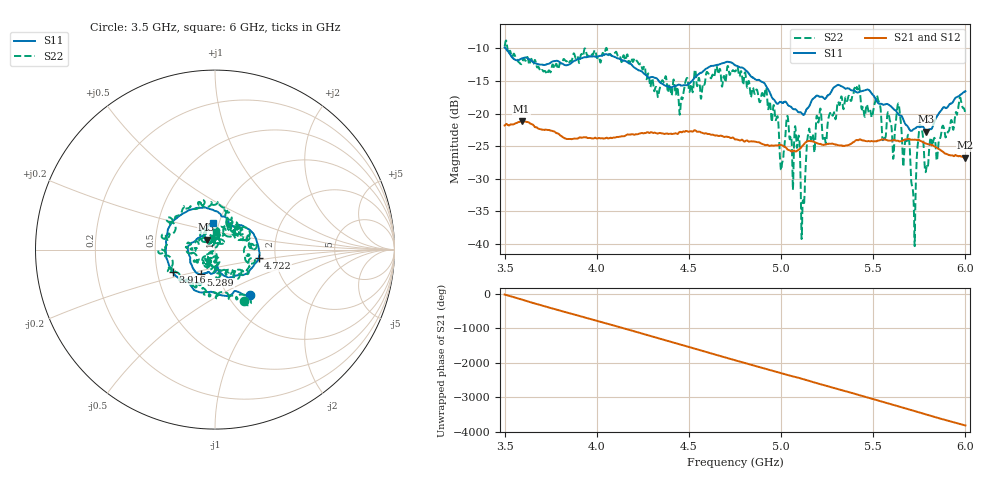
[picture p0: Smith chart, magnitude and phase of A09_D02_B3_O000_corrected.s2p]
! Created with skrf 1.9.0 (http://scikit-rf.org).
# Hz S RI R 50.0
!freq ReS11 ImS11 ReS21 ImS21 ReS12 ImS12 ReS22 ImS22
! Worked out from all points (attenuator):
!   1601 points, 3.5 GHz to 6 GHz, reference 50 ohm
!   highest |S21| = -21.19 dB at 3.592 GHz (marker M1); lowest = -26.8 dB at 6 GHz (marker M2)
!   lowest |S11| = -22.8 dB at 5.787 GHz (marker M3), VSWR 1.16, Z = 45.3 + j5.03 ohm
!   |S11| at or under -10 dB: 3.505 GHz to end of sweep
!   |S22| runs from -40.4 to -8.8 dB; largest |S21 - S12| = 0.001
!   S11 on the Smith chart (normalised r, x): 3.5 GHz: 1.26, -0.72; 3.916 GHz: 0.60, -0.16; 4.722 GHz: 1.63, -0.17; 5.289 GHz: 0.82, -0.23; 6 GHz: 0.94, +0.28
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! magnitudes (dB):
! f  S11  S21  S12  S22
! 3.5 GHz  -9.8  -21.8  -21.8  -9.7
! 3.592 GHz  -11.6  -21.2  -21.2  -12.4
! 3.916 GHz  -11.5  -23.7  -23.7  -10.9
! 3.917 GHz  -11.5  -23.7  -23.7  -10.9
! 4.334 GHz  -14.9  -23.0  -23.0  -17.2
! 4.722 GHz  -12.1  -23.7  -23.7  -14.1
! 4.75 GHz  -12.6  -24.0  -23.9  -13.5
! 4.912 GHz  -15.5  -24.8  -24.8  -16.7
! 5.003 GHz  -18.3  -24.9  -24.9  -28.3
! 5.031 GHz  -18.4  -25.4  -25.3  -20.6
! 5.086 GHz  -19.5  -25.8  -25.7  -25.3
! 5.119 GHz  -20.2  -24.9  -24.8  -33.3
! 5.145 GHz  -19.1  -24.2  -24.2  -23.4
! 5.167 GHz  -17.9  -24.3  -24.2  -23.6
! 5.289 GHz  -15.9  -24.7  -24.7  -20.0
! 5.412 GHz  -16.8  -24.1  -24.1  -16.3
! 5.584 GHz  -18.7  -24.1  -24.1  -20.0
! 5.688 GHz  -22.0  -23.9  -23.9  -23.4
! 5.719 GHz  -22.4  -24.0  -24.0  -33.4
! 5.753 GHz  -22.1  -24.2  -24.1  -21.9
! 5.787 GHz  -22.8  -24.6  -24.6  -28.5
! 6 GHz  -16.6  -26.8  -26.7  -20.0
